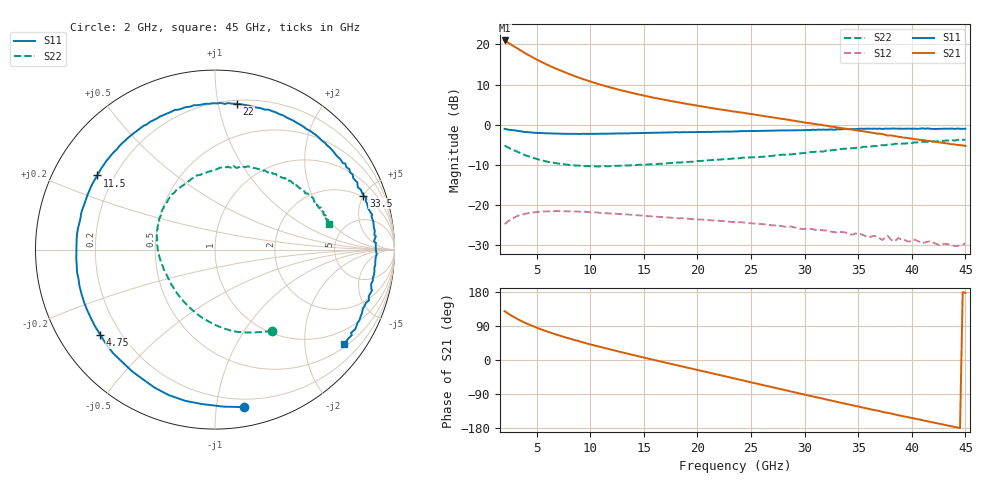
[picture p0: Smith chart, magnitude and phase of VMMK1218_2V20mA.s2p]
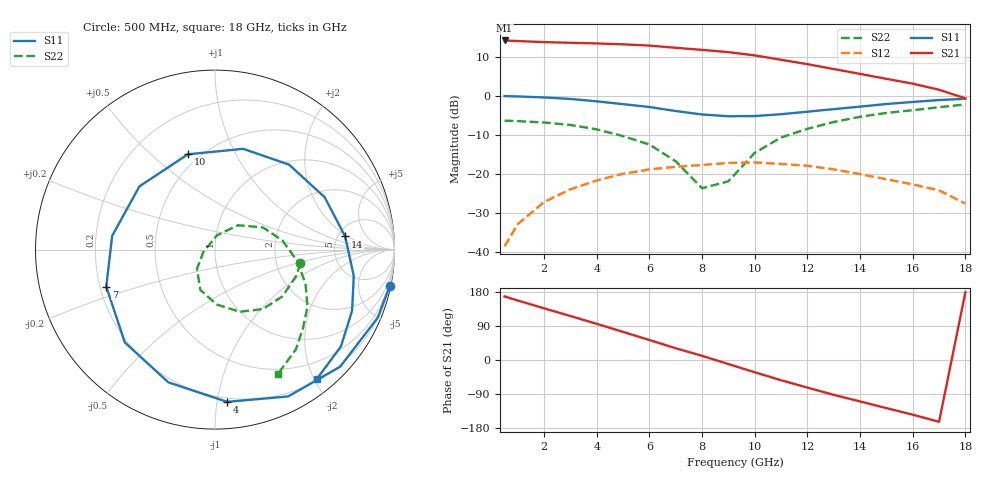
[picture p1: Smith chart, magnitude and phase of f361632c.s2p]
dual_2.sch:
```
<Qucs Schematic 0.0.19>
<Properties>
  <View=-164,-35,1215,2169,0.5,0,0>
  <Grid=10,10,1>
  <DataSet=dual_2.dat>
  <DataDisplay=dual_2.dpl>
  <OpenDisplay=1>
  <Script=dual2.m>
  <RunScript=0>
  <showFrame=0>
  <FrameText0=Title>
  <FrameText1=Drawn By:>
  <FrameText2=Date:>
  <FrameText3=Revision:>
</Properties>
<Symbol>
</Symbol>
<Components>
  <SPfile X1 1 230 600 -26 -53 0 0 "VMMK1218_2V20mA.s2p" 1 "rectangular" 0 "linear" 0 "open" 0 "2" 0>
  <Pac P1 1 -110 630 18 -26 0 1 "1" 1 "50 Ohm" 1 "0 dBm" 0 "1 GHz" 0 "26.85" 0>
  <GND * 1 -110 660 0 0 0 0>
  <Pac P2 1 1090 630 18 -26 0 1 "2" 1 "50 Ohm" 1 "0 dBm" 0 "1 GHz" 0 "26.85" 0>
  <GND * 1 1090 660 0 0 0 0>
  <MLIN MS11 1 340 730 15 -26 0 1 "RO4350_1" 0 "0.6 mm" 0 "0.2 mm" 0 "Hammerstad" 0 "Kirschning" 0 "26.85" 0>
  <MLIN MS12 1 340 820 15 -26 0 1 "RO4350_1" 0 "0.6 mm" 0 "0.4 mm" 0 "Hammerstad" 0 "Kirschning" 0 "26.85" 0>
  <MLIN MS9 1 230 730 15 -26 0 1 "RO4350_1" 0 "0.6 mm" 1 "0.2 mm" 1 "Hammerstad" 0 "Kirschning" 0 "26.85" 0>
  <MLIN MS10 1 230 820 15 -26 0 1 "RO4350_1" 0 "0.6 mm" 1 "0.4 mm" 1 "Hammerstad" 0 "Kirschning" 0 "26.85" 0>
  <MVIA MS4 5 180 760 -20 0 1 2 "RO4350_1" 0 "0.254 mm" 0 "26.85" 0>
  <MVIA MS3 5 180 850 -20 0 1 2 "RO4350_1" 0 "0.254 mm" 0 "26.85" 0>
  <MVIA MS1 1 390 760 20 0 0 0 "RO4350_1" 0 "0.254 mm" 0 "26.85" 0>
  <MVIA MS2 1 390 850 20 0 0 0 "RO4350_1" 0 "0.254 mm" 0 "26.85" 0>
  <R R1 1 30 830 -78 -26 0 3 "50 Ohm" 1 "26.85" 0 "0.0" 0 "0.0" 0 "26.85" 0 "european" 0>
  <MLIN MS24 1 30 710 15 -26 0 1 "RO4350_1" 0 "0.55 mm" 1 "4.0 mm" 1 "Hammerstad" 0 "Kirschning" 0 "26.85" 0>
  <MTEE MS25 1 30 770 34 -26 0 3 "RO4350_1" 0 "0.55 mm" 1 "0.55 mm" 1 "0.55 mm" 1 "Hammerstad" 0 "Kirschning" 0 "26.85" 0 "showNumbers" 0>
  <R R2 1 -50 860 -26 15 1 2 "550 Ohm" 1 "26.85" 0 "0.0" 0 "0.0" 0 "26.85" 0 "european" 0>
  <GND * 1 -80 860 0 0 0 3>
  <R R3 1 100 860 -26 15 1 2 "2450 Ohm" 1 "26.85" 0 "0.0" 0 "0.0" 0 "26.85" 0 "european" 0>
  <MLIN MS26 1 170 600 -26 -63 0 2 "RO4350_1" 0 "0.55 mm" 1 "1.3 mm" 1 "Hammerstad" 0 "Kirschning" 0 "26.85" 0>
  <MCROSS MS27 1 110 600 -26 34 0 0 "RO4350_1" 0 "0.55 mm" 1 "0.55 mm" 1 "0.55 mm" 1 "0.55 mm" 1 "Hammerstad" 0 "Kirschning" 0 "showNumbers" 0>
  <MOPEN MS28 1 110 440 15 -12 0 1 "RO4350_1" 0 "0.55 mm" 1 "Hammerstad" 0 "Kirschning" 0 "Kirschning" 0>
  <MLIN MS29 1 110 500 15 -26 0 1 "RO4350_1" 0 "0.55 mm" 1 "1.5 mm" 1 "Hammerstad" 0 "Kirschning" 0 "26.85" 0>
  <GND * 1 30 970 0 0 0 0>
  <C C1 1 30 940 -74 -26 0 3 "100 pF" 1 "" 0 "neutral" 0>
  <MRSTUB MS30 1 -80 750 14 -18 0 1 "RO4350_1" 0 "0.27 mm" 0 "2.8 mm" 1 "60" 1>
  <C C2 1 0 600 -26 17 0 0 "10 pF" 1 "" 0 "neutral" 0>
  <MOPEN MS31 1 380 460 15 -12 0 1 "RO4350_1" 0 "0.55 mm" 1 "Hammerstad" 0 "Kirschning" 0 "Kirschning" 0>
  <MLIN MS32 1 380 520 15 -26 0 1 "RO4350_1" 0 "0.55 mm" 1 "5.55mm" 1 "Hammerstad" 0 "Kirschning" 0 "26.85" 0>
  <MLIN MS38 1 320 600 -26 15 1 2 "RO4350_1" 0 "0.55 mm" 1 "0.4 mm" 1 "Hammerstad" 0 "Kirschning" 0 "26.85" 0>
  <MLIN MS39 1 440 600 -26 15 1 2 "RO4350_1" 0 "0.55 mm" 1 "1.95 mm" 1 "Hammerstad" 0 "Kirschning" 0 "26.85" 0>
  <MTEE MS40 1 380 600 -75 -147 0 2 "RO4350_1" 0 "0.55 mm" 0 "0.55 mm" 0 "0.55 mm" 0 "Hammerstad" 0 "Kirschning" 0 "26.85" 0 "showNumbers" 0>
  <MTEE MS41 1 500 600 -75 -128 1 2 "RO4350_1" 0 "0.55 mm" 0 "0.55 mm" 0 "0.55 mm" 0 "Hammerstad" 0 "Kirschning" 0 "26.85" 0 "showNumbers" 0>
  <C C4 1 560 600 -26 -49 1 0 "1 pF" 1 "" 0 "neutral" 0>
  <MLIN MS42 1 500 700 15 -26 0 1 "RO4350_1" 0 "0.55 mm" 1 "4 mm" 1 "Hammerstad" 0 "Kirschning" 0 "26.85" 0>
  <GND * 1 500 910 0 0 0 0>
  <R R5 1 500 820 -78 -26 0 3 "2 Ohm" 1 "26.85" 0 "0.0" 0 "0.0" 0 "26.85" 0 "european" 0>
  <C C5 1 500 880 -74 -26 0 3 "1nF" 1 "" 0 "neutral" 0>
  <MTEE MS44 1 500 760 34 -26 0 3 "RO4350_1" 0 "0.55 mm" 0 "0.55 mm" 0 "0.55 mm" 0 "Hammerstad" 0 "Kirschning" 0 "26.85" 0 "showNumbers" 0>
  <MRSTUB MS43 1 450 760 14 -18 0 1 "RO4350_1" 0 "0.27 mm" 0 "2.8 mm" 1 "60" 1>
  <MLIN MS33 1 680 600 -26 15 1 2 "RO4350_1" 0 "0.55 mm" 1 "2.9 mm" 1 "Hammerstad" 0 "Kirschning" 0 "26.85" 0>
  <SPfile X2 1 740 600 -26 -53 0 0 "f361632c.s2p" 1 "rectangular" 0 "linear" 0 "open" 0 "2" 0>
  <R R6 1 620 360 15 -26 0 1 "50 Ohm" 1 "26.85" 0 "0.0" 0 "0.0" 0 "26.85" 0 "european" 0>
  <MLIN MS45 1 620 480 -87 -26 0 3 "RO4350_1" 0 "0.55 mm" 1 "4 mm" 1 "Hammerstad" 0 "Kirschning" 0 "26.85" 0>
  <GND * 1 620 270 0 0 0 2>
  <C C6 1 620 300 17 -26 0 1 "100 pF" 1 "" 0 "neutral" 0>
  <MTEE MS46 1 620 420 -72 -49 1 1 "RO4350_1" 0 "0.55 mm" 0 "0.55 mm" 0 "0.55 mm" 0 "Hammerstad" 0 "Kirschning" 0 "26.85" 0 "showNumbers" 0>
  <MRSTUB MS47 1 500 420 14 -18 0 1 "RO4350_1" 0 "0.27 mm" 0 "2.8 mm" 1 "60" 1>
  <MTEE MS35 1 620 600 -75 -147 0 2 "RO4350_1" 0 "0.55 mm" 0 "0.55 mm" 0 "0.55 mm" 0 "Hammerstad" 0 "Kirschning" 0 "26.85" 0 "showNumbers" 0>
  <MVIA MS5 5 700 780 20 0 0 0 "RO4350_1" 0 "0.254 mm" 0 "26.85" 0>
  <MVIA MS6 5 740 780 20 0 0 0 "RO4350_1" 0 "0.254 mm" 0 "26.85" 0>
  <MVIA MS7 5 780 780 20 0 0 0 "RO4350_1" 0 "0.254 mm" 0 "26.85" 0>
  <MVIA MS8 1 820 780 20 0 0 0 "RO4350_1" 1 "0.254 mm" 1 "26.85" 0>
  <MLIN MS20 1 800 750 15 -26 0 1 "RO4350_1" 0 "0.55 mm" 1 "0.74 mm" 1 "Hammerstad" 0 "Kirschning" 0 "26.85" 0>
  <MLIN MS21 5 760 750 15 -26 0 1 "RO4350_1" 0 "0.55 mm" 0 "0.74 mm" 0 "Hammerstad" 0 "Kirschning" 0 "26.85" 0>
  <MLIN MS22 5 720 750 15 -26 0 1 "RO4350_1" 0 "0.55 mm" 0 "0.74 mm" 0 "Hammerstad" 0 "Kirschning" 0 "26.85" 0>
  <MLIN MS23 5 680 750 15 -26 0 1 "RO4350_1" 0 "0.55 mm" 0 "0.74 mm" 0 "Hammerstad" 0 "Kirschning" 0 "26.85" 0>
  <MLIN MS48 1 850 600 -26 -63 0 2 "RO4350_1" 0 "0.55 mm" 1 "0.0 mm" 1 "Hammerstad" 0 "Kirschning" 0 "26.85" 0>
  <C C7 1 1020 600 -26 17 0 0 "1 pF" 1 "" 0 "neutral" 0>
  <MTEE MS49 1 960 600 -75 -128 1 2 "RO4350_1" 0 "0.55 mm" 0 "0.55 mm" 0 "0.55 mm" 0 "Hammerstad" 0 "Kirschning" 0 "26.85" 0 "showNumbers" 0>
  <MLIN MS50 1 960 710 15 -26 0 1 "RO4350_1" 0 "0.55 mm" 1 "4 mm" 1 "Hammerstad" 0 "Kirschning" 0 "26.85" 0>
  <GND * 1 960 920 0 0 0 0>
  <R R7 1 960 830 -78 -26 0 3 "2 Ohm" 1 "26.85" 0 "0.0" 0 "0.0" 0 "26.85" 0 "european" 0>
  <C C8 1 960 890 -74 -26 0 3 "1nF" 1 "" 0 "neutral" 0>
  <MRSTUB MS51 1 1100 770 -117 -18 0 3 "RO4350_1" 1 "0.55 mm" 0 "2.8 mm" 1 "60" 1>
  <MTEE MS52 1 960 770 -68 -26 1 3 "RO4350_1" 0 "0.55 mm" 0 "0.55 mm" 0 "0.55 mm" 0 "Hammerstad" 0 "Kirschning" 0 "26.85" 0 "showNumbers" 0>
  <.SP SP1 1 -90 310 0 75 0 0 "lin" 1 "1 GHz" 1 "18 GHz" 1 "200" 1 "no" 0 "1" 0 "2" 0 "no" 0 "no" 0>
  <Eqn Eqn2 1 230 320 -28 15 0 0 "K=StabFactor(S)" 1 "S11db=dB(S[1,1])" 1 "S21db=dB(S[2,1])" 1 "S22db=dB(S[2,2])" 1 "yes" 0>
  <SUBST RO4350_1 1 1000 350 -30 24 0 0 "3.48" 1 "0.254 mm" 1 "35 um" 1 "0.004" 1 "0.022e-6" 1 "1.4e-6" 1>
</Components>
<Wires>
  <340 760 370 760 "" 0 0 0 "">
  <340 760 340 790 "" 0 0 0 "">
  <340 850 370 850 "" 0 0 0 "">
  <230 630 230 700 "" 0 0 0 "">
  <200 760 230 760 "" 0 0 0 "">
  <230 760 230 790 "" 0 0 0 "">
  <200 850 230 850 "" 0 0 0 "">
  <230 700 340 700 "" 0 0 0 "">
  <260 600 290 600 "" 0 0 0 "">
  <30 860 70 860 "" 0 0 0 "">
  <-20 860 30 860 "" 0 0 0 "">
  <30 680 110 680 "" 0 0 0 "">
  <110 630 110 680 "" 0 0 0 "">
  <110 530 110 570 "" 0 0 0 "">
  <30 860 30 910 "" 0 0 0 "">
  <-70 750 -70 770 "" 0 0 0 "">
  <-70 770 0 770 "" 0 0 0 "">
  <30 600 80 600 "" 0 0 0 "">
  <-110 600 -30 600 "" 0 0 0 "">
  <380 550 380 570 "" 0 0 0 "">
  <500 630 500 670 "" 0 0 0 "">
  <460 760 470 760 "" 0 0 0 "">
  <510 420 590 420 "" 0 0 0 "">
  <620 510 620 570 "" 0 0 0 "">
  <740 630 740 720 "" 0 0 0 "">
  <720 720 740 720 "" 0 0 0 "">
  <760 720 800 720 "" 0 0 0 "">
  <740 720 760 720 "" 0 0 0 "">
  <680 720 720 720 "" 0 0 0 "">
  <880 600 930 600 "" 0 0 0 "">
  <960 630 960 680 "" 0 0 0 "">
  <990 770 1090 770 "" 0 0 0 "">
  <770 600 820 600 "" 0 0 0 "">
  <1050 600 1090 600 "" 0 0 0 "">
  <500 790 540 790 "" 0 0 0 "">
  <540 790 540 960 "" 0 0 0 "">
  <130 960 540 960 "" 0 0 0 "">
  <130 860 130 960 "" 0 0 0 "">
</Wires>
<Diagrams>
</Diagrams>
<Paintings>
  <Text 530 830 12 #000000 0 "Stage 1 Supply (App.2.04V)\nconnected here">
  <Text 630 310 12 #000000 0 "Gate Voltage (app. -0.1V) connected here">
  <Text 980 850 12 #000000 0 "Stage 1 Supply (App.2.04V)\nconnected here">
  <Text 170 190 14 #000000 0 "Full Dual Stage Amp with all Using Microstrip Lines">
</Paintings>
```
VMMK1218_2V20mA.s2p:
!Mon 10/Sep/2007 11:11:59
!Comment:  300um GSG cal using PCB - TRL cal standard, VMMK1218
! Vd(V)  IVd(mA)  Vg(V)  IVg(mA)
!2  20.29  0.5799  0
!Freq(GHZ)  S11(mag)  S11(ang)  S21(mag)  S21(ang)  S12(mag)  S12(ang)  S22(mag)  S22(ang)
#  GHZ  S  MA  R  50
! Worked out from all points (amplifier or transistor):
!   173 points, 2 GHz to 45 GHz, reference 50 ohm
!   highest |S21| = 21.0 dB at 2 GHz (marker M1)
!   |S21| within 3 dB of that: start of sweep to 3.814 GHz
!   unconditionally stable (mu >= 1): 18.24 GHz to 18.38 GHz; 18.78 GHz to end of sweep
!   at 9 GHz: K = 0.50, MSG = 16.6 dB, |S12| = -21.6 dB
!   at 23.5 GHz: K = 1.26, MAG = 10.7 dB, |S12| = -24.2 dB
!   at 45 GHz: K = 2.60, MAG = 5.1 dB, |S12| = -29.4 dB
!   lowest NFmin = 0.17 dB at 2 GHz
!   S11 on the Smith chart (normalised r, x): 2 GHz: 0.14, -1.19; 4.75 GHz: 0.13, -0.33; 11.5 GHz: 0.14, +0.28; 22 GHz: 0.23, +1.13; 33.5 GHz: 1.88, +4.99; 45 GHz: 0.57, -2.97
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2  0.8921 -79.6  11.22 128.9  0.058 43.8  0.5531 -54.9
3.25  0.8395 -113.6  8.83 107.5  0.0739 25.0  0.4596 -79.0
4.75  0.7965 -143.3  6.753 87.9  0.0815 9.3  0.3844 -101.3
6  0.7836 -161.7  5.574 74.8  0.0837 -0.7  0.3476 -115.6
7.5  0.7725 -179.1  4.564 61.1  0.0841 -10.9  0.3238 -130.1
11.5  0.776 147.8  3.016 30.4  0.0793 -31.4  0.3055 -160.7
16.25  0.7987 116.8  2.132 -1.9  0.0717 -51.0  0.3244 172.1
22  0.8216 81.6  1.565 -39.2  0.064 -73.0  0.3681 141.0
23.5  0.828 72.2  1.457 -49.1  0.0618 -79.0  0.3819 132.3
33.5  0.8794 20.0  0.9084 -113.5  0.0464 -126.1  0.5012 67.0
45  0.893 -36.1  0.5464 177.1  0.0337 158.3  0.6512 12.7
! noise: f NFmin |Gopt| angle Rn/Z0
2  0.17  0.727  30.9  0.1
3  0.24  0.624  46.2  0.1
5  0.38  0.457  75.8  0.08
7  0.51  0.344  104.1  0.07
8  0.58  0.307  117.8  0.07
10  0.72  0.273  144.3  0.06
12  0.85  0.292  169.6  0.06
13  0.92  0.322  -178.2  0.06
15  1.05  0.421  -154.8  0.06
17  1.19  0.573  -132.6  0.08
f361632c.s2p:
!ATF-36163
!2V 20mA
! last updated 11-10-95
# ghz s ma r 50
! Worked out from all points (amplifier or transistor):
!   19 points, 500 MHz to 18 GHz, reference 50 ohm
!   highest |S21| = 14.2 dB at 500 MHz (marker M1)
!   |S21| within 3 dB of that: start of sweep to 9.017 GHz
!   unconditionally stable (mu >= 1): 10.22 GHz to end of sweep
!   at 3 GHz: K = 0.36, MSG = 18.7 dB, |S12| = -23.9 dB
!   at 9 GHz: K = 0.93, MSG = 14.2 dB, |S12| = -17.1 dB
!   at 18 GHz: K = 1.42, MAG = 9.6 dB, |S12| = -27.5 dB
!   lowest NFmin = 0.52 dB at 2 GHz
!   S11 on the Smith chart (normalised r, x): 500 MHz: 0.29, -9.72; 4 GHz: 0.17, -1.07; 7 GHz: 0.23, -0.16; 10 GHz: 0.43, +0.66; 14 GHz: 5.80, +1.81; 18 GHz: 0.22, -2.03
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0.5  0.994 -11.7  5.108 167.7  0.012 79.2  0.482 -9.1
2  0.955 -43.1  4.867 136.3  0.044 56.0  0.457 -34.8
4  0.851 -85.4  4.68 95.4  0.083 24.4  0.373 -68.2
5  0.784 -109.3  4.557 74.1  0.101 7.2  0.306 -88.3
7  0.64 -161.2  4.116 31.0  0.124 -26.9  0.146 -133.3
9  0.549 140.1  3.622 -10.8  0.139 -54.6  0.081 81.8
10  0.552 105.9  3.29 -32.3  0.141 -69.7  0.187 46.5
12  0.628 48.9  2.544 -72.9  0.128 -96.7  0.379 7.7
14  0.729 5.7  1.909 -109.3  0.1 -117.8  0.54 -20.9
16  0.836 -23.9  1.433 -144.3  0.074 -132.0  0.656 -41.6
18  0.918 -51.9  0.93 178.8  0.042 -146.8  0.778 -63.4
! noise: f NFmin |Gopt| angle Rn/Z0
2  0.52  0.826  28.08  0.393
3  0.57  0.746  41.9  0.323
5  0.66  0.591  72.65  0.2
7  0.76  0.46  105.7  0.115
9  0.88  0.299  140.4  0.077
10  0.94  0.199  174.5  0.079
12  1.09  0.201  -79.72  0.149
14  1.28  0.38  -12.57  0.356
16  1.52  0.613  20.98  0.658
18  1.85  0.758  52.86  1.215
